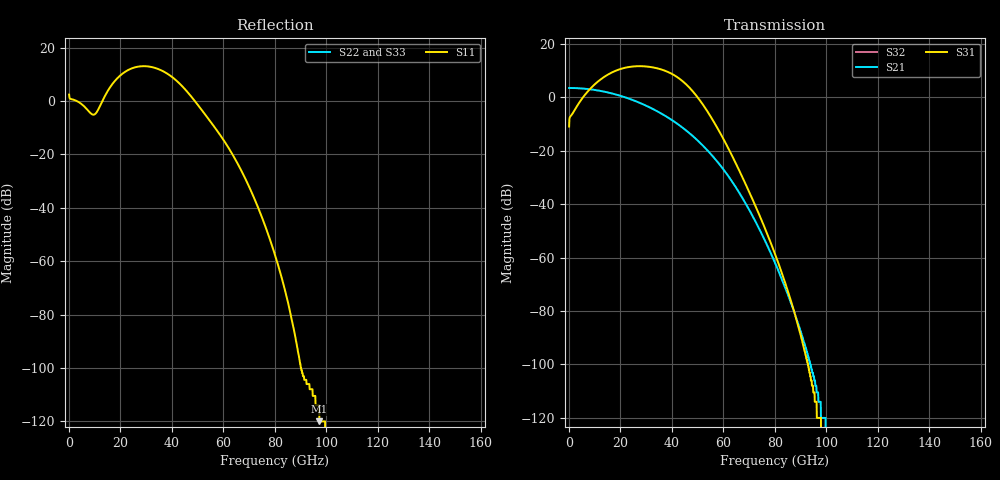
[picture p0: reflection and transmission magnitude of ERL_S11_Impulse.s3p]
! File created by SignalIntegrity v1.5.4: Signal and Power Integrity Tools
! https://github.com/Nubis-Communications/SignalIntegrity
# MHz S MA R 50.0
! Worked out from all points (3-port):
!   1600 points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, 100 MHz to 160 GHz, reference 50 ohm
!   strongest paths, dB at 100 MHz, 40.1 GHz, 80.1 GHz, 120.1 GHz, 160 GHz:
!     S31: -10.9, 8.8, -58.7, -, -
!     S21: 3.6, -8.5, -62.0, -, -
!     S32: -, -, -, -, -
!   lowest |S11| = -120.0 dB at 97.3 GHz (marker M1), VSWR 1.00, Z = 50 + j9.13e-05 ohm
!   |S11| at or under -10 dB: 56.72 GHz to end of sweep
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100  1.316 -9.0  0 0.0  0 0.0
     1.506 -0.3  0 0.0  0 0.0
     0.2859 -136.0  0 0.0  0 0.0
12900  0.9713 141.5  0 0.0  0 0.0
       1.309 -33.3  0 0.0  0 0.0
       2.278 144.5  0 0.0  0 0.0
19700  2.923 53.4  0 0.0  0 0.0
       1.085 -51.3  0 0.0  0 0.0
       3.367 71.6  0 0.0  0 0.0
25900  4.289 -15.5  0 0.0  0 0.0
       0.8535 -68.4  0 0.0  0 0.0
       3.834 -5.3  0 0.0  0 0.0
31900  4.339 -84.6  0 0.0  0 0.0
       0.6335 -85.9  0 0.0  0 0.0
       3.706 -84.3  0 0.0  0 0.0
37500  3.404 -154.5  0 0.0  0 0.0
       0.45 -103.5  0 0.0  0 0.0
       3.14 -160.9  0 0.0  0 0.0
43400  2.024 122.1  0 0.0  0 0.0
       0.2898 -123.6  0 0.0  0 0.0
       2.159 115.1  0 0.0  0 0.0
80100  0.001284 58.3  0 0.0  0 0.0
       0.000795 120.9  0 0.0  0 0.0
       0.001157 20.8  0 0.0  0 0.0
97300  1e-06 114.1  0 0.0  0 0.0
       2e-06 95.8  0 0.0  0 0.0
       1e-06 -119.2  0 0.0  0 0.0
160000  0 0.0  0 0.0  0 0.0
        0 0.0  0 0.0  0 0.0
        0 0.0  0 0.0  0 0.0
